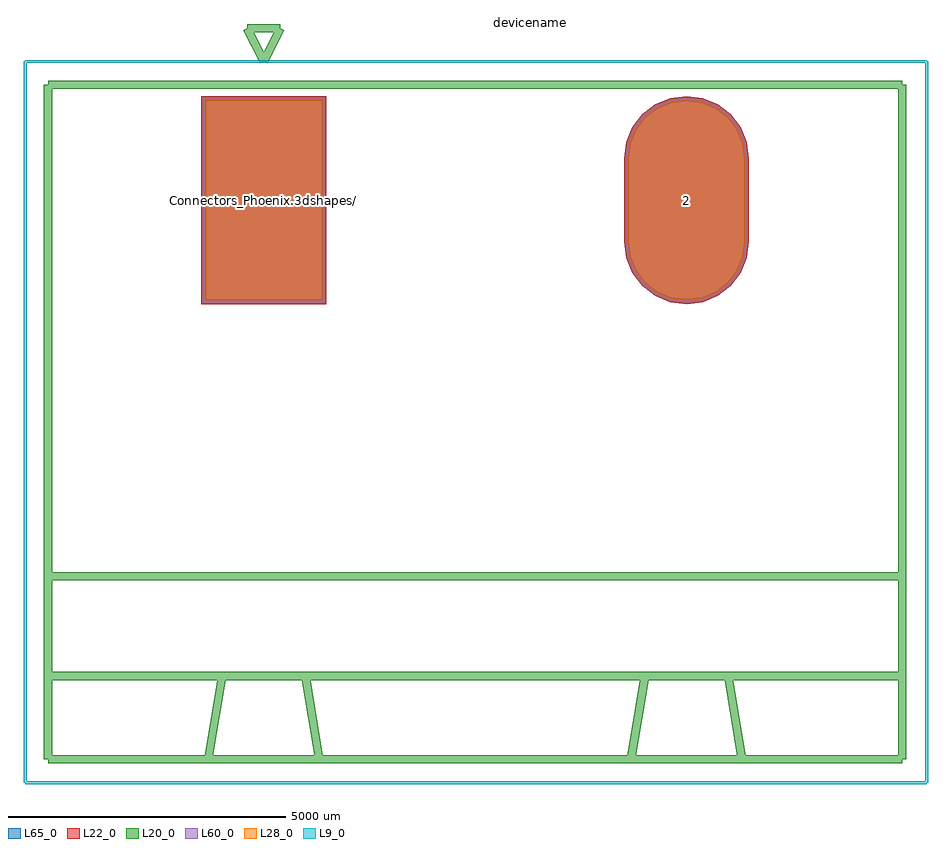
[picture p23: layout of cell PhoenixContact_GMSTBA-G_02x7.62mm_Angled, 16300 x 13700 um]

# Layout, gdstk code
import gdstk
lib = gdstk.Library(unit=1e-6, precision=1e-09)
def R(c, l, rs):  # rectangles x0, y0, x1, y1
    for r in rs: c.add(gdstk.rectangle(r[:2], r[2:], *l))
def P(c, l, *ps):  # polygons
    for p in ps: c.add(gdstk.Polygon(p, *l))
L9_0 = (9, 0)
L20_0 = (20, 0)
L22_0 = (22, 0)
L28_0 = (28, 0)
L60_0 = (60, 0)
L65_0 = (65, 0)

phoenixcontact_gmstba_g_ = lib.new_cell('PhoenixContact_GMSTBA-G_02x7.62mm_Angled')
R(phoenixcontact_gmstba_g_, L22_0, [(-1125,-1875,1125,1875)])
P(phoenixcontact_gmstba_g_, L22_0, [(7620,-1875),(7911.171,-1836.667),(8182.5,-1724.279),(8415.495,-1545.495),(8594.279,-1312.5),(8706.667,-1041.171),(8745,-750),(8745,750),(8706.667,1041.171),(8594.279,1312.5),(8415.495,1545.495),(8182.5,1724.279),(7911.171,1836.667),(7620,1875),(7328.829,1836.667),(7057.5,1724.279),(6824.505,1545.495),(6645.721,1312.5),(6533.333,1041.171),(6495,750),(6495,-750),(6533.333,-1041.171),(6645.721,-1312.5),(6824.505,-1545.495),(7057.5,-1724.279),(7328.829,-1836.667)])
R(phoenixcontact_gmstba_g_, L28_0, [(-1050,-1800,1050,1800)])
P(phoenixcontact_gmstba_g_, L28_0, [(7620,-1800),(7891.76,-1764.222),(8145,-1659.327),(8362.462,-1492.462),(8529.327,-1275),(8634.222,-1021.76),(8670,-750),(8670,750),(8634.222,1021.76),(8529.327,1275),(8362.462,1492.462),(8145,1659.327),(7891.76,1764.222),(7620,1800),(7348.24,1764.222),(7095,1659.327),(6877.538,1492.462),(6710.673,1275),(6605.778,1021.76),(6570,750),(6570,-750),(6605.778,-1021.76),(6710.673,-1275),(6877.538,-1492.462),(7095,-1659.327),(7348.24,-1764.222)])
R(phoenixcontact_gmstba_g_, L60_0, [(-1050,-1800,1050,1800)])
P(phoenixcontact_gmstba_g_, L60_0, [(7620,-1800),(7891.76,-1764.222),(8145,-1659.327),(8362.462,-1492.462),(8529.327,-1275),(8634.222,-1021.76),(8670,-750),(8670,750),(8634.222,1021.76),(8529.327,1275),(8362.462,1492.462),(8145,1659.327),(7891.76,1764.222),(7620,1800),(7348.24,1764.222),(7095,1659.327),(6877.538,1492.462),(6710.673,1275),(6605.778,1021.76),(6570,750),(6570,-750),(6605.778,-1021.76),(6710.673,-1275),(6877.538,-1492.462),(7095,-1659.327),(7348.24,-1764.222)])
R(phoenixcontact_gmstba_g_, L65_0, [(-1125,-1875,1125,1875)])
P(phoenixcontact_gmstba_g_, L65_0, [(7620,-1875),(7911.171,-1836.667),(8182.5,-1724.279),(8415.495,-1545.495),(8594.279,-1312.5),(8706.667,-1041.171),(8745,-750),(8745,750),(8706.667,1041.171),(8594.279,1312.5),(8415.495,1545.495),(8182.5,1724.279),(7911.171,1836.667),(7620,1875),(7328.829,1836.667),(7057.5,1724.279),(6824.505,1545.495),(6645.721,1312.5),(6533.333,1041.171),(6495,750),(6495,-750),(6533.333,-1041.171),(6645.721,-1312.5),(6824.505,-1545.495),(7057.5,-1724.279),(7328.829,-1836.667)])
phoenixcontact_gmstba_g_.add(gdstk.FlexPath([(-300,3100),(0,2500)], 149.998, ends="flush", simple_path=True, layer=20, datatype=0))  # L20_0
phoenixcontact_gmstba_g_.add(gdstk.FlexPath([(300,3100),(-300,3100)], 149.998, ends="flush", simple_path=True, layer=20, datatype=0))  # L20_0
phoenixcontact_gmstba_g_.add(gdstk.FlexPath([(0,2500),(300,3100)], 149.998, ends="flush", simple_path=True, layer=20, datatype=0))  # L20_0
phoenixcontact_gmstba_g_.add(gdstk.FlexPath([(11950,2500),(-4300,2500)], 50, ends="flush", simple_path=True, layer=9, datatype=0))  # L9_0
phoenixcontact_gmstba_g_.add(gdstk.FlexPath([(11950,-10500),(11950,2500)], 50, ends="flush", simple_path=True, layer=9, datatype=0))  # L9_0
phoenixcontact_gmstba_g_.add(gdstk.FlexPath([(-4300,-10500),(11950,-10500)], 50, ends="flush", simple_path=True, layer=9, datatype=0))  # L9_0
phoenixcontact_gmstba_g_.add(gdstk.FlexPath([(-4300,2500),(-4300,-10500)], 50, ends="flush", simple_path=True, layer=9, datatype=0))  # L9_0
phoenixcontact_gmstba_g_.add(gdstk.FlexPath([(6870,-8580),(6620,-10080)], 149.998, ends="flush", simple_path=True, layer=20, datatype=0))  # L20_0
phoenixcontact_gmstba_g_.add(gdstk.FlexPath([(8370,-8580),(6870,-8580)], 149.998, ends="flush", simple_path=True, layer=20, datatype=0))  # L20_0
phoenixcontact_gmstba_g_.add(gdstk.FlexPath([(8620,-10080),(8370,-8580)], 149.998, ends="flush", simple_path=True, layer=20, datatype=0))  # L20_0
phoenixcontact_gmstba_g_.add(gdstk.FlexPath([(6620,-10080),(8620,-10080)], 149.998, ends="flush", simple_path=True, layer=20, datatype=0))  # L20_0
phoenixcontact_gmstba_g_.add(gdstk.FlexPath([(-750,-8580),(-1000,-10080)], 149.998, ends="flush", simple_path=True, layer=20, datatype=0))  # L20_0
phoenixcontact_gmstba_g_.add(gdstk.FlexPath([(750,-8580),(-750,-8580)], 149.998, ends="flush", simple_path=True, layer=20, datatype=0))  # L20_0
phoenixcontact_gmstba_g_.add(gdstk.FlexPath([(1000,-10080),(750,-8580)], 149.998, ends="flush", simple_path=True, layer=20, datatype=0))  # L20_0
phoenixcontact_gmstba_g_.add(gdstk.FlexPath([(-1000,-10080),(1000,-10080)], 149.998, ends="flush", simple_path=True, layer=20, datatype=0))  # L20_0
phoenixcontact_gmstba_g_.add(gdstk.FlexPath([(11510,-8580),(-3890,-8580)], 149.998, ends="flush", simple_path=True, layer=20, datatype=0))  # L20_0
phoenixcontact_gmstba_g_.add(gdstk.FlexPath([(11510,-6780),(11510,-8580)], 149.998, ends="flush", simple_path=True, layer=20, datatype=0))  # L20_0
phoenixcontact_gmstba_g_.add(gdstk.FlexPath([(-3890,-6780),(11510,-6780)], 149.998, ends="flush", simple_path=True, layer=20, datatype=0))  # L20_0
phoenixcontact_gmstba_g_.add(gdstk.FlexPath([(-3890,-8580),(-3890,-6780)], 149.998, ends="flush", simple_path=True, layer=20, datatype=0))  # L20_0
phoenixcontact_gmstba_g_.add(gdstk.FlexPath([(11510,2080),(-3890,2080)], 149.998, ends="flush", simple_path=True, layer=20, datatype=0))  # L20_0
phoenixcontact_gmstba_g_.add(gdstk.FlexPath([(11510,-10080),(11510,2080)], 149.998, ends="flush", simple_path=True, layer=20, datatype=0))  # L20_0
phoenixcontact_gmstba_g_.add(gdstk.FlexPath([(-3890,-10080),(11510,-10080)], 149.998, ends="flush", simple_path=True, layer=20, datatype=0))  # L20_0
phoenixcontact_gmstba_g_.add(gdstk.FlexPath([(-3890,2080),(-3890,-10080)], 149.998, ends="flush", simple_path=True, layer=20, datatype=0))  # L20_0
phoenixcontact_gmstba_g_.add(gdstk.Label('Connectors_Phoenix.3dshapes/PhoenixContact_GMSTBA-G_02x7.62mm_Angled.wrl', (0,0), layer=12, texttype=0))
phoenixcontact_gmstba_g_.add(gdstk.Label('2', (7620,0), layer=28, texttype=0))
phoenixcontact_gmstba_g_.add(gdstk.Label('1', (0,0), layer=28, texttype=0))
phoenixcontact_gmstba_g_.add(gdstk.Label('type', (3810,-11500), layer=9, texttype=0))
phoenixcontact_gmstba_g_.add(gdstk.Label('devicename', (4810,3200), layer=9, texttype=0))

lib.write_gds('PhoenixContact_GMSTBA-G_02x7.62mm_Angled.gds')
